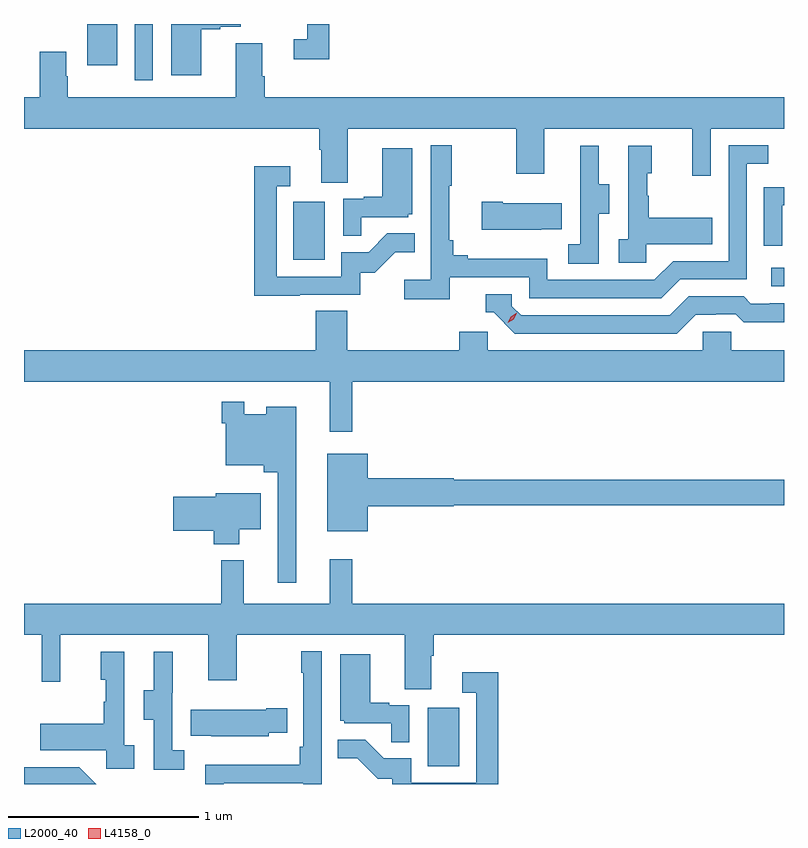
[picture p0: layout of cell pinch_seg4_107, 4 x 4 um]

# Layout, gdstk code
import gdstk
lib = gdstk.Library(unit=1e-6, precision=1e-09)
def R(c, l, rs):  # rectangles x0, y0, x1, y1
    for r in rs: c.add(gdstk.rectangle(r[:2], r[2:], *l))
def P(c, l, *ps):  # polygons
    for p in ps: c.add(gdstk.Polygon(p, *l))
L2000_40 = (2000, 40)
L4158_0 = (4158, 0)

pinch_seg4_107 = lib.new_cell('pinch_seg4_107')
R(pinch_seg4_107, L2000_40, [(1059.134,794.796,1059.298,795.103), (1060.941,797.322,1061.008,797.418), (1058.426,797.46,1058.59,797.767), (1057.59,798.405,1057.686,798.702), (1057.34,798.486,1057.498,798.702)])
P(pinch_seg4_107, L2000_40, [(1057.942,798.675),(1058.042,798.675),(1058.042,798.687),(1058.148,798.687),(1058.148,798.702),(1057.784,798.702),(1057.784,798.432),(1057.942,798.432)],
  [(1058.615,798.702),(1058.499,798.702),(1058.499,798.621),(1058.427,798.621),(1058.427,798.516),(1058.615,798.516)],
  [(1058.713,798.152),(1059.598,798.152),(1059.598,797.913),(1059.745,797.913),(1059.745,798.152),(1060.526,798.152),(1060.526,797.904),(1060.623,797.904),(1060.623,798.152),(1061.008,798.152),(1061.008,798.316),(1058.276,798.316),(1058.276,798.428),(1058.263,798.428),(1058.263,798.602),(1058.123,798.602),(1058.123,798.316),(1057.239,798.316),(1057.239,798.428),(1057.231,798.428),(1057.231,798.556),(1057.091,798.556),(1057.091,798.316),(1057.008,798.316),(1057.008,798.152),(1058.561,798.152),(1058.561,798.04),(1058.573,798.04),(1058.573,797.866),(1058.713,797.866)],
  [(1059.248,797.37),(1059.666,797.37),(1059.666,797.259),(1060.363,797.259),(1060.462,797.358),(1060.812,797.358),(1060.812,797.967),(1060.925,797.967),(1060.925,798.063),(1060.716,798.063),(1060.716,797.454),(1060.425,797.454),(1060.326,797.355),(1059.762,797.355),(1059.762,797.467),(1059.343,797.467),(1059.343,797.486),(1059.266,797.486),(1059.266,797.563),(1059.247,797.563),(1059.247,797.851),(1059.259,797.851),(1059.259,798.064),(1059.15,798.064),(1059.15,797.356),(1059.009,797.356),(1059.009,797.254),(1059.248,797.254)],
  [(1060.284,797.543),(1060.631,797.543),(1060.631,797.683),(1060.297,797.683),(1060.297,797.798),(1060.287,797.798),(1060.287,797.916),(1060.312,797.916),(1060.312,798.061),(1060.188,798.061),(1060.188,797.57),(1060.137,797.57),(1060.137,797.445),(1060.284,797.445)],
  [(1060.032,797.704),(1060.087,797.704),(1060.087,797.859),(1060.033,797.859),(1060.033,798.061),(1059.935,798.061),(1059.935,797.847),(1059.936,797.847),(1059.936,797.543),(1059.873,797.543),(1059.873,797.44),(1060.032,797.44)],
  [(1058.783,797.685),(1059.03,797.685),(1059.03,797.7),(1059.052,797.7),(1059.052,798.049),(1058.894,798.049),(1058.894,797.794),(1058.795,797.794),(1058.795,797.781),(1058.688,797.781),(1058.688,797.587),(1058.783,797.587)],
  [(1058.459,797.277),(1058.778,797.277),(1058.778,797.394),(1058.854,797.394),(1058.961,797.501),(1059.065,797.501),(1059.065,797.6),(1058.921,797.6),(1058.823,797.502),(1058.679,797.502),(1058.679,797.373),(1058.337,797.373),(1058.337,797.847),(1058.41,797.847),(1058.41,797.953),(1058.221,797.953),(1058.221,797.272),(1058.459,797.272)],
  [(1060.998,797.747),(1061.008,797.747),(1061.008,797.844),(1060.902,797.844),(1060.902,797.535),(1060.998,797.535)],
  [(1059.731,797.621),(1059.839,797.621),(1059.839,797.758),(1059.529,797.758),(1059.529,797.766),(1059.417,797.766),(1059.417,797.618),(1059.731,797.618)],
  [(1060.543,797.172),(1060.65,797.172),(1060.65,797.175),(1060.753,797.175),(1060.795,797.133),(1061.008,797.133),(1061.008,797.232),(1060.933,797.232),(1060.933,797.229),(1060.834,797.229),(1060.795,797.268),(1060.506,797.268),(1060.407,797.169),(1059.624,797.169),(1059.576,797.217),(1059.576,797.28),(1059.437,797.28),(1059.437,797.184),(1059.48,797.184),(1059.591,797.073),(1060.444,797.073)],
  [(1058.735,796.82),(1061.008,796.82),(1061.008,796.984),(1060.731,796.984),(1060.731,797.082),(1060.581,797.082),(1060.581,796.984),(1059.45,796.984),(1059.45,797.082),(1059.299,797.082),(1059.299,796.984),(1058.708,796.984),(1058.708,797.192),(1058.543,797.192),(1058.543,796.984),(1057.008,796.984),(1057.008,796.82),(1058.618,796.82),(1058.618,796.557),(1058.735,796.557)],
  [(1058.44,796.687),(1058.282,796.687),(1058.282,796.648),(1058.166,796.648),(1058.166,796.714),(1058.05,796.714),(1058.05,796.601),(1058.07,796.601),(1058.07,796.379),(1058.27,796.379),(1058.27,796.343),(1058.343,796.343),(1058.343,795.762),(1058.44,795.762)],
  [(1058.818,796.163),(1059.27,796.163),(1059.27,796.168),(1061.008,796.168),(1061.008,796.304),(1059.27,796.304),(1059.27,796.31),(1058.818,796.31),(1058.818,796.441),(1058.603,796.441),(1058.603,796.031),(1058.818,796.031)],
  [(1058.14,796.043),(1058.254,796.043),(1058.254,796.231),(1058.018,796.231),(1058.018,796.214),(1057.794,796.214),(1057.794,796.036),(1058.006,796.036),(1058.006,795.965),(1058.14,795.965)],
  [(1059.151,795.376),(1059.164,795.376),(1059.164,795.488),(1061.008,795.488),(1061.008,795.652),(1058.735,795.652),(1058.735,795.886),(1058.618,795.886),(1058.618,795.652),(1058.165,795.652),(1058.165,795.88),(1058.047,795.88),(1058.047,795.652),(1057.008,795.652),(1057.008,795.488),(1057.101,795.488),(1057.101,795.24),(1057.199,795.24),(1057.199,795.488),(1057.979,795.488),(1057.979,795.249),(1058.127,795.249),(1058.127,795.488),(1059.011,795.488),(1059.011,795.202),(1059.151,795.202)],
  [(1058.058,794.706),(1058.477,794.706),(1058.477,794.702),(1058.574,794.702),(1058.574,795.4),(1058.466,795.4),(1058.466,795.287),(1058.478,795.287),(1058.478,794.899),(1058.458,794.899),(1058.458,794.803),(1057.962,794.803),(1057.962,794.702),(1058.058,794.702)],
  [(1057.852,794.879),(1057.788,794.879),(1057.788,795.183),(1057.79,795.183),(1057.79,795.397),(1057.691,795.397),(1057.691,795.195),(1057.637,795.195),(1057.637,795.04),(1057.692,795.04),(1057.692,794.776),(1057.852,794.776)],
  [(1057.588,794.906),(1057.536,794.906),(1057.536,795.397),(1057.412,795.397),(1057.412,795.252),(1057.438,795.252),(1057.438,795.134),(1057.428,795.134),(1057.428,795.019),(1057.093,795.019),(1057.093,794.879),(1057.44,794.879),(1057.44,794.781),(1057.588,794.781)],
  [(1059.036,795.117),(1058.93,795.117),(1058.93,795.13),(1058.83,795.13),(1058.83,795.385),(1058.672,795.385),(1058.672,795.036),(1058.694,795.036),(1058.694,795.021),(1058.941,795.021),(1058.941,794.923),(1059.036,794.923)],
  [(1059.503,795.289),(1059.315,795.289),(1059.315,795.183),(1059.387,795.183),(1059.387,794.709),(1059.045,794.709),(1059.045,794.838),(1058.901,794.838),(1058.803,794.936),(1058.659,794.936),(1058.659,794.837),(1058.763,794.837),(1058.87,794.73),(1058.947,794.73),(1058.947,794.702),(1059.503,794.702)],
  [(1058.295,794.972),(1058.393,794.972),(1058.393,795.102),(1058.282,795.102),(1058.282,795.094),(1057.885,795.094),(1057.885,794.957),(1057.993,794.957),(1057.993,794.954),(1058.295,794.954)],
  [(1057.299,794.79),(1057.008,794.79),(1057.008,794.702),(1057.387,794.702)])
P(pinch_seg4_107, L4158_0, [(1059.555,797.129),(1059.555,797.129),(1059.57,797.162),(1059.601,797.182),(1059.601,797.182),(1059.601,797.182),(1059.585,797.149),(1059.555,797.129)])

lib.write_gds('pinch_seg4_107.gds')
